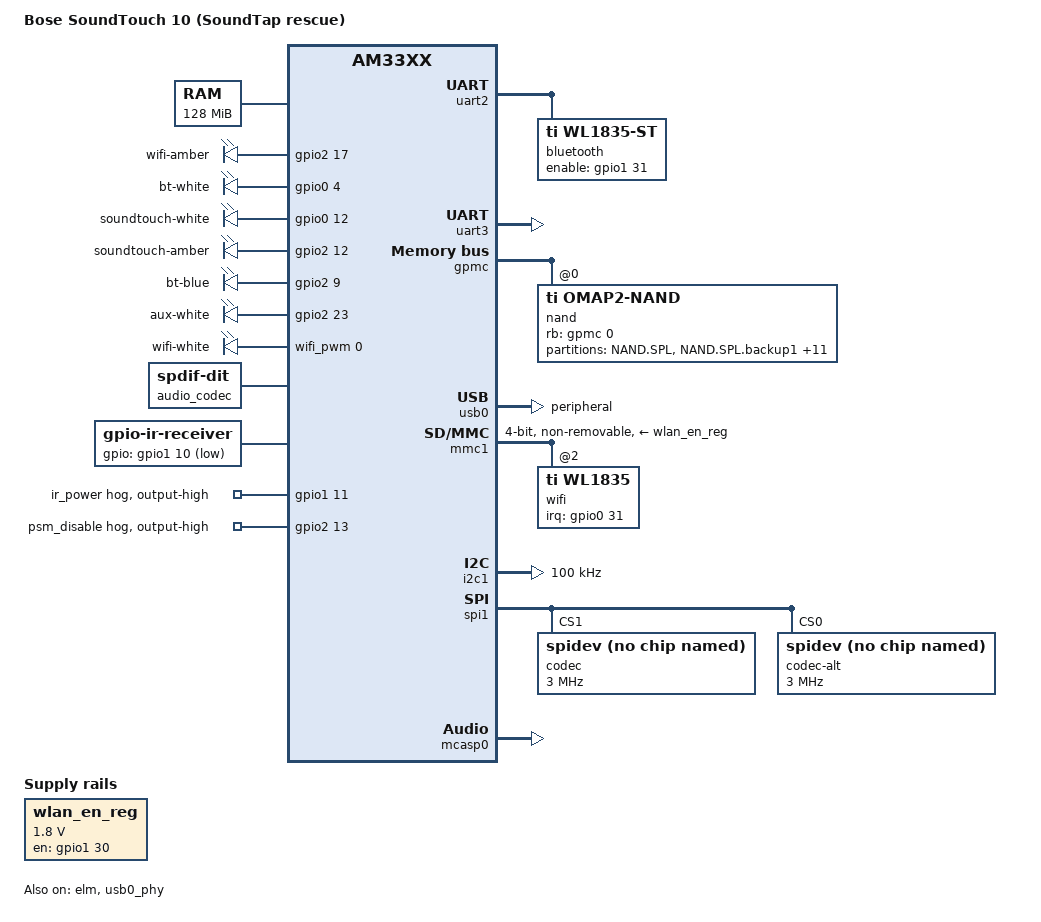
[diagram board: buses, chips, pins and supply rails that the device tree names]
// SPDX-License-Identifier: GPL-2.0-only
// SPDX-FileCopyrightText: 2026 SoundTap contributors
/dts-v1/;

#include "am33xx.dtsi"
#include <dt-bindings/interrupt-controller/irq.h>
#include <dt-bindings/pinctrl/am33xx.h>
#include "am335x-soundtap-ramoops.dtsi"

/ {
	model = "Bose SoundTouch 10 (SoundTap rescue)";
	compatible = "bose,rhino-sm2", "ti,am33xx";

	aliases {
		serial3 = &uart3;
	};

	chosen {
		stdout-path = "serial3:115200n8";
		bootargs = "console=ttyS3,115200n8 root=ubi0:rootfs ro rootfstype=ubifs ubi.mtd=9,2048 rootwait init=/init mem=128M cma=8M panic=10 omap_wdt.early_enable=1 variant=rhino module_type=sm2 country=GB region=GB soundtap.nandroot=1 soundtap.watchdog=90";
	};

	memory@80000000 {
		device_type = "memory";
		reg = <0x80000000 0x08000000>;
	};

	/*
	 * Seven lamps, not nine. Bose's driver exposes uledw, uledy and rled2..rled8, and the
	 * first version of this node inherited that count along with labels inferred from the
	 * channel names. Lighting each channel in turn on hardware
	 * (lighting each channel by hand) showed four of those labels sat on the
	 * wrong lamp and two channels drive no lamp at all: rled2 (gpio2_1) and rled8
	 * (gpio2_16). Both are dropped here — Bose leaves gpio2_16 in LCD mode on a board
	 * with no LCD, which is what an unwired pad looks like.
	 *
	 * These labels become the /sys/class/leds names soundtapd writes, so they must stay in
	 * step with ledChannels() in app/cmd/soundtapd/led.go. A rename on one side alone
	 * sends every write to the stock /dev path and the whole panel goes dark.
	 */
	leds {
		compatible = "gpio-leds";
		pinctrl-names = "default";
		pinctrl-0 = <&led_pins>;

		wifi-amber {
			label = "wifi-amber";
			gpios = <&gpio2 17 GPIO_ACTIVE_HIGH>;
			default-state = "off";
		};

		bt-white {
			label = "bt-white";
			gpios = <&gpio0 4 GPIO_ACTIVE_HIGH>;
			default-state = "off";
		};

		soundtouch-white {
			label = "soundtouch-white";
			gpios = <&gpio0 12 GPIO_ACTIVE_HIGH>;
			default-state = "off";
		};

		soundtouch-amber {
			label = "soundtouch-amber";
			gpios = <&gpio2 12 GPIO_ACTIVE_HIGH>;
			default-state = "off";
		};

		bt-blue {
			label = "bt-blue";
			gpios = <&gpio2 9 GPIO_ACTIVE_HIGH>;
			default-state = "off";
		};

		/*
		 * gpio2_23 (lcd_hsync) is the AUX lamp, Bose's rled7. Bose's tree also names it in
		 * ncp6922_pins_default, as the NCP6922's enable line, and for a while this tree
		 * held it high for the analog supply, which kept the AUX lamp lit in standby.
		 * The rails do not need it: aic3256-loader turns them on over I2C, and the
		 * codec answers with the line low (ST10, 2026-09-23). Stock drives it as a lamp.
		 */
		aux-white {
			label = "aux-white";
			gpios = <&gpio2 23 GPIO_ACTIVE_HIGH>;
			default-state = "off";
		};
	};

	/*
	 * The Wi-Fi white lamp is the one stock dims: in standby it is the only lamp lit, at
	 * low brightness. Bose drives it from DM timer 4, whose output is this lamp's pad in
	 * mode 2 (timer4_pins_default in the stock tree), so it is a PWM lamp here too and
	 * not a gpio-leds one, which can only be on or off. Same label, so soundtapd and the
	 * rescue init write it the same way; brightness 0..255.
	 */
	wifi_pwm: dmtimer-pwm {
		compatible = "ti,omap-dmtimer-pwm";
		#pwm-cells = <3>;
		ti,timers = <&timer4>;
		pinctrl-names = "default";
		pinctrl-0 = <&wifi_pwm_pins>;
	};

	pwm-leds {
		compatible = "pwm-leds";

		wifi-white {
			label = "wifi-white";
			pwms = <&wifi_pwm 0 1000000 0>;
			max-brightness = <255>;
			/* A dark speaker reads as a dead one, and soundtapd takes this lamp over later. */
			default-state = "on";
		};
	};

	wlan_en_reg: regulator-wlan {
		compatible = "regulator-fixed";
		regulator-name = "wlan-en-regulator";
		regulator-min-microvolt = <1800000>;
		regulator-max-microvolt = <1800000>;
		gpio = <&gpio1 30 GPIO_ACTIVE_HIGH>;
		startup-delay-us = <70000>;
		enable-active-high;
	};

	audio_codec: audio-codec {
		compatible = "linux,spdif-dit";
		#sound-dai-cells = <0>;
	};

	/*
	 * The infrared receiver. Bose's ir.ko claims UART0's register block and interrupt and
	 * decodes edges itself ("Infrared receiver sysfs driver", ir_decoding.c, previous_edge,
	 * bits_acc) -- a private driver mainline does not have; a node naming those resources
	 * at the root stops this board booting.
	 *
	 * The demodulator output is on uart0_rxd, which is gpio1_10 in mode 7, so mainline's own
	 * gpio-ir-receiver can have it: rc-core times the edges and its decoders turn them into
	 * key events, with no driver of ours in the path. Idle high, pulses low, which is what
	 * every three-pin demodulator does and what GPIO_ACTIVE_LOW says here.
	 *
	 * Measured 2026-09-22: the driver binds (rc0, /dev/lirc0, gpio_ir_recv on this pin) and
	 * the line is quiet at rest -- eight seconds of reads returned nothing, so the pad is
	 * not floating or oscillating. Whether a remote actually reaches it is still open: it
	 * needs one button press in front of the speaker.
	 */
	ir-receiver {
		compatible = "gpio-ir-receiver";
		gpios = <&gpio1 10 GPIO_ACTIVE_LOW>;
		pinctrl-names = "default";
		pinctrl-0 = <&ir_pins>;
		linux,autosuspend-period = <125>;
	};

	sound {
		compatible = "bose,soundtap-mcasp-audio";
		pinctrl-names = "default";
		pinctrl-0 = <&audio_control_pins>;
		audio-cpu = <&mcasp0>;
		audio-codec = <&audio_codec>;
	};
};

&am33xx_pinmux {
	ir_pins: pinmux-ir-pins {
		pinctrl-single,pins = <
			/* uart0_rxd as gpio1_10: the receiver's output, read by rc-core. */
			AM33XX_PADCONF(0x970, PIN_INPUT_PULLUP, MUX_MODE7)
			/*
			 * uart0_txd as gpio1_11, driven high by the hog below.
			 *
			 * Stock muxes this pad too, as UART0's transmit line, which idles high --
			 * and Bose's ir.ko never sends anything, so what that pin is for is being
			 * high while the receiver is meant to work. Dropping it when this moved to
			 * gpio-ir-receiver left it floating, and 30 seconds of button presses
			 * produced zero bytes on /dev/lirc0 with the decoders enabled and the line
			 * otherwise quiet. Measured on the ST10 on 2026-09-22.
			 */
			AM33XX_PADCONF(0x974, PIN_OUTPUT, MUX_MODE7)
		>;
	};

	/*
	 * UART2, which is where the WL1835's Bluetooth side hangs. Stock's
	 * uart2_pins_default is <0x188 0x32  0x18c 0x02  0x150 0x31  0x154 0x01>, and these
	 * are the same four pads with the same modes and directions: rxd and txd on the SPI0
	 * pads in mode 1, ctsn and rtsn on the I2C0 pads in mode 2. Hardware flow control on
	 * both lines, which the controller needs.
	 */
	uart2_pins: pinmux-uart2-pins {
		pinctrl-single,pins = <
			AM33XX_PADCONF(0x950, PIN_INPUT_PULLUP, MUX_MODE1) /* spi0_sclk: uart2_rxd */
			AM33XX_PADCONF(0x954, PIN_OUTPUT_PULLDOWN, MUX_MODE1) /* spi0_d0: uart2_txd */
			AM33XX_PADCONF(0x988, PIN_INPUT_PULLUP, MUX_MODE2) /* i2c0_sda:  uart2_ctsn */
			AM33XX_PADCONF(0x98c, PIN_OUTPUT_PULLDOWN, MUX_MODE2) /* i2c0_scl: uart2_rtsn */
		>;
	};

	/*
	 * bt_enable, the controller's nSHUTDOWN. Stock's gpiodev table calls it flat number
	 * 0x3F -- gpio1_31, which is the GPMC_CSN2 pad -- and muxes it as a GPIO in
	 * gpiodev_pins_default. Without this group the pad stays in its GPMC function, so
	 * hci_ll toggles a line that reaches nothing: the chip never leaves reset and the
	 * driver reports "Reading TI version information failed (-110)" on every retry.
	 * Measured on the ST10 on 2026-09-22, with hci0 present and the firmware download
	 * failing exactly that way.
	 */
	bt_enable_pins: pinmux-bt-enable-pins {
		pinctrl-single,pins = <
			AM33XX_PADCONF(AM335X_PIN_GPMC_CSN2, PIN_OUTPUT_PULLDOWN, MUX_MODE7)
		>;
	};

	uart3_pins: pinmux-uart3-pins {
		pinctrl-single,pins = <
			AM33XX_PADCONF(AM335X_PIN_MII1_RXD2, PIN_OUTPUT_PULLDOWN, MUX_MODE1)
			AM33XX_PADCONF(AM335X_PIN_SPI0_CS1, PIN_INPUT_PULLUP, MUX_MODE1)
		>;
	};

	usb0_pins: pinmux-usb0-pins {
		pinctrl-single,pins = <
			AM33XX_PADCONF(AM335X_PIN_USB0_DRVVBUS, PIN_OUTPUT, MUX_MODE0)
		>;
	};

	/*
	 * Exactly the pads the leds node drives, in the same order. gpmc_clk (gpio2_1) and
	 * lcd_data10 (gpio2_16) are gone with their lamps: stock muxes the first for a lamp
	 * this board does not have and leaves the second in LCD mode, and neither lights
	 * anything here.
	 */
	wifi_pwm_pins: pinmux-wifi-pwm-pins {
		pinctrl-single,pins = <
			AM33XX_PADCONF(AM335X_PIN_XDMA_EVENT_INTR0, PIN_OUTPUT, MUX_MODE2) /* timer4, wifi white */
		>;
	};

	led_pins: pinmux-led-pins {
		pinctrl-single,pins = <
			AM33XX_PADCONF(AM335X_PIN_LCD_DATA11, PIN_OUTPUT_PULLDOWN, MUX_MODE7) /* gpio2_17 wifi amber */
			AM33XX_PADCONF(AM335X_PIN_SPI0_D1, PIN_OUTPUT, MUX_MODE7) /* gpio0_4  bluetooth white */
			AM33XX_PADCONF(AM335X_PIN_UART1_CTSN, PIN_OUTPUT, MUX_MODE7) /* gpio0_12 soundtouch white */
			AM33XX_PADCONF(AM335X_PIN_LCD_DATA6, PIN_OUTPUT, MUX_MODE7) /* gpio2_12 soundtouch amber */
			AM33XX_PADCONF(AM335X_PIN_LCD_DATA3, PIN_OUTPUT, MUX_MODE7) /* gpio2_9  bluetooth blue  */
			AM33XX_PADCONF(AM335X_PIN_LCD_HSYNC, PIN_OUTPUT, MUX_MODE7) /* gpio2_23 aux white */
		>;
	};

	mmc1_pins: pinmux-mmc1-pins {
		pinctrl-single,pins = <
			AM33XX_PADCONF(AM335X_PIN_MMC0_DAT3, PIN_INPUT_PULLUP, MUX_MODE0)
			AM33XX_PADCONF(AM335X_PIN_MMC0_DAT2, PIN_INPUT_PULLUP, MUX_MODE0)
			AM33XX_PADCONF(AM335X_PIN_MMC0_DAT1, PIN_INPUT_PULLUP, MUX_MODE0)
			AM33XX_PADCONF(AM335X_PIN_MMC0_DAT0, PIN_INPUT_PULLUP, MUX_MODE0)
			AM33XX_PADCONF(AM335X_PIN_MMC0_CLK, PIN_INPUT_PULLUP, MUX_MODE0)
			AM33XX_PADCONF(AM335X_PIN_MMC0_CMD, PIN_INPUT_PULLUP, MUX_MODE0)
		>;
	};

	wlan_pins: pinmux-wlan-pins {
		pinctrl-single,pins = <
			AM33XX_PADCONF(AM335X_PIN_GPMC_CSN1, PIN_OUTPUT_PULLDOWN, MUX_MODE7)
			AM33XX_PADCONF(AM335X_PIN_GPMC_WPN, PIN_INPUT, MUX_MODE7)
		>;
	};

	nand_pins: pinmux-nand-pins {
		pinctrl-single,pins = <
			AM33XX_PADCONF(AM335X_PIN_GPMC_AD0, PIN_INPUT_PULLUP, MUX_MODE0)
			AM33XX_PADCONF(AM335X_PIN_GPMC_AD1, PIN_INPUT_PULLUP, MUX_MODE0)
			AM33XX_PADCONF(AM335X_PIN_GPMC_AD2, PIN_INPUT_PULLUP, MUX_MODE0)
			AM33XX_PADCONF(AM335X_PIN_GPMC_AD3, PIN_INPUT_PULLUP, MUX_MODE0)
			AM33XX_PADCONF(AM335X_PIN_GPMC_AD4, PIN_INPUT_PULLUP, MUX_MODE0)
			AM33XX_PADCONF(AM335X_PIN_GPMC_AD5, PIN_INPUT_PULLUP, MUX_MODE0)
			AM33XX_PADCONF(AM335X_PIN_GPMC_AD6, PIN_INPUT_PULLUP, MUX_MODE0)
			AM33XX_PADCONF(AM335X_PIN_GPMC_AD7, PIN_INPUT_PULLUP, MUX_MODE0)
			AM33XX_PADCONF(AM335X_PIN_GPMC_WAIT0, PIN_INPUT_PULLDOWN, MUX_MODE0)
			AM33XX_PADCONF(AM335X_PIN_GPMC_CSN0, PIN_OUTPUT, MUX_MODE0)
			AM33XX_PADCONF(AM335X_PIN_GPMC_ADVN_ALE, PIN_OUTPUT, MUX_MODE0)
			AM33XX_PADCONF(AM335X_PIN_GPMC_OEN_REN, PIN_OUTPUT, MUX_MODE0)
			AM33XX_PADCONF(AM335X_PIN_GPMC_WEN, PIN_OUTPUT, MUX_MODE0)
			AM33XX_PADCONF(AM335X_PIN_GPMC_BEN0_CLE, PIN_OUTPUT, MUX_MODE0)
		>;
	};

	spi1_pins: pinmux-spi1-pins {
		pinctrl-single,pins = <
			AM33XX_PADCONF(0x964, 0x30, MUX_MODE4)
			AM33XX_PADCONF(0x968, 0x30, MUX_MODE4)
			AM33XX_PADCONF(0x96c, 0x30, MUX_MODE4)
			AM33XX_PADCONF(0x97c, 0x30, MUX_MODE4)
		>;
	};

	mcasp0_pins: pinmux-mcasp0-pins {
		pinctrl-single,pins = <
			AM33XX_PADCONF(0x8d0, 0x20, MUX_MODE3)
			AM33XX_PADCONF(0x8d4, 0x20, MUX_MODE3)
			AM33XX_PADCONF(0x8d8, 0x20, MUX_MODE3)
			AM33XX_PADCONF(0x8dc, 0x08, MUX_MODE3)
			AM33XX_PADCONF(0x908, 0x20, MUX_MODE6)
			AM33XX_PADCONF(0x92c, 0x08, MUX_MODE6)
			AM33XX_PADCONF(0x930, 0x08, MUX_MODE6)
			AM33XX_PADCONF(0x934, 0x20, MUX_MODE6)
		>;
	};

	/*
	 * Front-panel keypad: a 3x3 strobed matrix plus one directly wired key. Values
	 * are the stock rhino_sm2.dtb keypad_pins_default group, translated to this
	 * file's 0x800-based offsets — 0x2f is PIN_INPUT | MUX_MODE7 and 0x17 is
	 * PIN_OUTPUT_PULLUP | MUX_MODE7.
	 *
	 * There is deliberately no keypad driver node behind this group. Every in-kernel
	 * variant we tried (gpio-keys, gpio-matrix-keypad, a custom scanner) prevented
	 * Wi-Fi from booting, and they all request GPIO interrupts on the switch-ins —
	 * which live on gpio0, the same bank and parent interrupt as the WL1835's own
	 * IRQ at gpio0_31 — while an unstrobed switch-in floats. The stock driver does
	 * not use interrupts for scanning either; it polls on a timer. So this group
	 * only muxes the pads, and soundtapd scans them from userspace over sysfs GPIO
	 * (app/cmd/soundtapd/keypad_gpio.go).
	 */
	keypad_pins: pinmux-keypad-pins {
		pinctrl-single,pins = <
			/* Switch-ins, sampled while a strobe is asserted. Pull-disabled on
			 * purpose: the pull-ups are on the board, behind the strobe FETs.
			 */
			AM33XX_PADCONF(0x820, PIN_INPUT, MUX_MODE7) /* gpmc_ad8  -> gpio0_22 */
			AM33XX_PADCONF(0x824, PIN_INPUT, MUX_MODE7) /* gpmc_ad9  -> gpio0_23 */
			AM33XX_PADCONF(0x828, PIN_INPUT, MUX_MODE7) /* gpmc_ad10 -> gpio0_26 */
			AM33XX_PADCONF(0x82c, PIN_INPUT, MUX_MODE7) /* gpmc_ad11 -> gpio0_27 */
			/* Strobes, asserted high one at a time (has-fets = <1>). */
			AM33XX_PADCONF(0x878, PIN_OUTPUT_PULLUP, MUX_MODE7) /* gpmc_be1n -> gpio1_28 */
			AM33XX_PADCONF(0x830, PIN_OUTPUT_PULLUP, MUX_MODE7) /* gpmc_ad12 -> gpio1_12 */
			AM33XX_PADCONF(0x834, PIN_OUTPUT_PULLUP, MUX_MODE7) /* gpmc_ad13 -> gpio1_13 */
		>;
	};

	/*
	 * I2C1 and the regulator that feeds the analog output, straight out of Bose's own
	 * rhino_sm2.dtb: i2c@4802a000 status okay on the two mcasp0_axr pads at 0x980/0x984
	 * with value 0x6b, an "onsemi,ncp6922" at address 0x18 carrying dcdc1, dcdc2, ldo3
	 * and ldo4, and an ncp6922_pins_default claiming pad 0xe4 -- lcd_hsync -- as a GPIO
	 * output for the chip's enable line. That pad is the AUX lamp here (see the leds node);
	 * the rails are on without it.
	 *
	 * Mainline has no ncp6922 driver, so the bus is opened here and the rails are brought
	 * up from userspace, exactly as the Wireless Link does it.
	 */
	i2c1_pins: pinmux-i2c1-pins {
		pinctrl-single,pins = <
			AM33XX_PADCONF(0x980, 0x68, MUX_MODE3) /* i2c1_sda */
			AM33XX_PADCONF(0x984, 0x68, MUX_MODE3) /* i2c1_scl */
		>;
	};

	audio_control_pins: pinmux-audio-control-pins {
		pinctrl-single,pins = <
			AM33XX_PADCONF(0x8a8, 0x00, MUX_MODE7) /* mute */
			AM33XX_PADCONF(0x8b0, 0x00, MUX_MODE7) /* DAC/ADC reset */
			AM33XX_PADCONF(0x8b4, 0x00, MUX_MODE7) /* amplifier standby */
			AM33XX_PADCONF(0x8e0, 0x00, MUX_MODE7) /* DSP reset */
			AM33XX_PADCONF(0x8e8, 0x30, MUX_MODE7) /* amplifier fault */
			AM33XX_PADCONF(0x8bc, 0x00, MUX_MODE7) /* power-save disable */
		>;
	};
};

/*
 * psm_disable, held high for as long as the speaker is on.
 *
 * Bose's gpiodev table gives it flat number 0x4D -- gpio2_13, lcd_data7 -- as an output
 * with initial = 1, and scmmond opens /dev/gpiodev/psm_disable by name. This tree never
 * mentioned the line at all, so it sat wherever the pad's pull left it, which is the
 * opposite of what stock boots with.
 *
 * A hog rather than a driver: nothing here has a reason to change it, and a line that must
 * be high before the amplifier is used should not wait for userspace. Read out of the stock
 * device tree on 2026-09-22; whether it is what makes stock louder at maximum volume is the
 * listening test that has not happened yet. See docs/hardware/st10/stock-audio-path.md.
 */
&gpio1 {
	/* What stock leaves high through UART0's idle transmit line; see ir_pins. */
	ir-power-hog {
		gpio-hog;
		gpios = <11 GPIO_ACTIVE_HIGH>;
		output-high;
		line-name = "ir_power";
	};
};

&gpio2 {
	psm-disable-hog {
		gpio-hog;
		gpios = <13 GPIO_ACTIVE_HIGH>;
		output-high;
		line-name = "psm_disable";
	};
};

/*
 * The Bluetooth half of the WL1835, over TI's own HCI protocol on UART2.
 *
 * Stock runs the 3.14-era shared transport -- st_kim plus the uim daemon -- whose platform
 * data lives in Bose board code, which is why the stock device tree has this UART and no
 * controller. Mainline's hci_ll does the same job from a serdev child, so the node says
 * what stock tells uim: which UART, which enable line, and how fast to go after the
 * firmware is loaded.
 *
 * enable-gpios is gpio1_31, read out of stock's gpiodev table on 2026-09-22: bt_enable,
 * flat number 0x3F, output, initial 0. The controller's firmware, TIInit_11.8.32.bts, is
 * already in this root filesystem under /lib/firmware/ti-connectivity.
 *
 * Not yet measured: no ST10 has been seen to enumerate an hci device. A serdev child that
 * does not probe logs and goes away, which is why this is safe to carry before that.
 */
&uart2 {
	pinctrl-names = "default";
	pinctrl-0 = <&uart2_pins &bt_enable_pins>;
	status = "okay";

	/*
	 * No EDMA on this port, for the reason the Wireless Link found first: with RX DMA
	 * the radio's answers reach hci_ll late and more than once. The ST10 shows the same
	 * signature -- "unexpected event for opcode 0x0010" right after "Reading TI version
	 * information failed (-110)", on a board whose radio demonstrably answers -- and
	 * am335x-soundtap-wla.dts has the capture. Polled RX carries a few kB of init script
	 * without trouble. The two output pads above take the vendor's pulldown for the same
	 * alignment reason given there.
	 */
	/delete-property/ dmas;
	/delete-property/ dma-names;

	bluetooth {
		compatible = "ti,wl1835-st";
		enable-gpios = <&gpio1 31 GPIO_ACTIVE_HIGH>;
		max-speed = <921600>;
	};
};

&uart3 {
	pinctrl-names = "default";
	pinctrl-0 = <&uart3_pins>;
	status = "okay";
};

/*
 * Somebody has to apply keypad_pins, and pinctrl-single writes pad registers regardless
 * of which node asks — the group covers gpio0 and gpio1 lines either way. It hangs off
 * gpio2, the one bank nothing in the Wi-Fi path depends on (gpio0 carries the WL1835
 * interrupt, gpio1 the WLAN_EN regulator), so a problem muxing the keypad can never
 * delay or disturb a bank the radio needs.
 */
&gpio2 {
	pinctrl-names = "default";
	pinctrl-0 = <&keypad_pins>;
};

&elm {
	status = "okay";
};

&gpmc {
	status = "okay";
	pinctrl-names = "default";
	pinctrl-0 = <&nand_pins>;
	ranges = <0 0 0x08000000 0x01000000>;

	nand@0,0 {
		compatible = "ti,omap2-nand";
		reg = <0 0 4>;
		rb-gpios = <&gpmc 0 GPIO_ACTIVE_HIGH>;
		nand-bus-width = <8>;
		gpmc,device-width = <1>;
		gpmc,cs-rd-off-ns = <30>;
		gpmc,cs-wr-off-ns = <30>;
		gpmc,adv-rd-off-ns = <30>;
		gpmc,adv-wr-off-ns = <30>;
		gpmc,we-off-ns = <20>;
		gpmc,oe-off-ns = <20>;
		gpmc,access-ns = <30>;
		gpmc,rd-cycle-ns = <30>;
		gpmc,wr-cycle-ns = <30>;
		gpmc,wr-access-ns = <30>;
		ti,nand-ecc-opt = "bch8";
		ti,elm-id = <&elm>;

		partitions {
			compatible = "fixed-partitions";
			#address-cells = <1>;
			#size-cells = <1>;

			partition@0 {
				label = "NAND.SPL";
				reg = <0x00000000 0x00020000>;
				soundtap,writable;
			};

			partition@20000 {
				label = "NAND.SPL.backup1";
				reg = <0x00020000 0x00020000>;
				soundtap,writable;
			};

			partition@40000 {
				label = "NAND.SPL.backup2";
				reg = <0x00040000 0x00020000>;
				soundtap,writable;
			};

			partition@60000 {
				label = "NAND.SPL.backup3";
				reg = <0x00060000 0x00020000>;
				soundtap,writable;
			};

			partition@80000 {
				label = "NAND.U-Boot";
				reg = <0x00080000 0x001e0000>;
				soundtap,writable;
			};

			/*
			 * Open, because this entry is the slot selector. bootcmd runs
			 * nand_boot or nand_boot2 and nothing else decides which half of
			 * the A/B pair the speaker starts, so an install that writes the
			 * other slot and cannot write this partition installs firmware
			 * nobody boots: with mtd5 read-only, flash_erase answers EACCES
			 * and the board comes back on the old slot (measured).
			 *
			 * The boot chain above it stays shut: SPL, its three backups and
			 * U-Boot are the one-way door on a model with no proven mask-ROM
			 * recovery, and internal/ubootenv refuses a partition whose CRC
			 * does not check out, so a half-written environment still falls
			 * back to U-Boot's built-in default.
			 */
			partition@260000 {
				label = "NAND.U-Boot-Env";
				reg = <0x00260000 0x00020000>;
				soundtap,writable;
			};

			partition@280000 {
				label = "NAND.Kernel-Ping";
				reg = <0x00280000 0x00500000>;
				soundtap,writable;
			};

			partition@780000 {
				label = "NAND.Kernel-Pong";
				reg = <0x00780000 0x00500000>;
				soundtap,writable;
			};

			partition@c80000 {
				label = "NAND.File-System-Ping";
				reg = <0x00c80000 0x06000000>;
				soundtap,writable;
			};

			partition@6c80000 {
				label = "NAND.File-System-Pong";
				reg = <0x06c80000 0x06000000>;
				soundtap,writable;
			};

			partition@cc80000 {
				label = "NAND.Persistent-Storage";
				reg = <0x0cc80000 0x02600000>;
				soundtap,writable;
			};

			partition@f280000 {
				label = "NAND.Update-Staging";
				reg = <0x0f280000 0x00b80000>;
				read-only;
			};

			partition@fe00000 {
				label = "NAND.Manufacturing-Data";
				reg = <0x0fe00000 0x00040000>;
				read-only;
			};
		};
	};
};

&usb0 {
	pinctrl-names = "default";
	pinctrl-0 = <&usb0_pins>;
	/*
	 * Peripheral, which is the shape the Wireless Link has proven: a gadget on usb0,
	 * giving a console and a network link that do not depend on Wi-Fi. This board has
	 * one controller -- stock disables usb1 -- so it is one role at a time, and the
	 * role this firmware needs is the gadget.
	 *
	 * It was "host" for the RAM/USB deploy path, which read a root filesystem from a
	 * stick; NAND boot replaced that. Recovery still reads a stick, but stock U-Boot
	 * does that at power-on, before Linux exists, so nothing we rely on needs host.
	 *
	 * Not "otg", although that is what stock rhino_sm2.dtb says. Choosing by the ID pin
	 * only works if the ID pin is wired, and nothing here has ever shown that it is
	 * (docs/hardware/st10/usb-recovery-and-rom.md). An unwired ID would leave the port in
	 * host mode and the gadget would simply never appear.
	 */
	dr_mode = "peripheral";
	status = "okay";
};

&usb0_phy {
	status = "okay";
};

&mmc1 {
	pinctrl-names = "default";
	pinctrl-0 = <&mmc1_pins &wlan_pins>;
	vmmc-supply = <&wlan_en_reg>;
	bus-width = <4>;
	non-removable;
	cap-power-off-card;
	keep-power-in-suspend;
	status = "okay";

	#address-cells = <1>;
	#size-cells = <0>;

	wifi@2 {
		compatible = "ti,wl1835";
		reg = <2>;
		interrupt-parent = <&gpio0>;
		interrupts = <31 IRQ_TYPE_EDGE_RISING>;
	};
};

&i2c1 {
	pinctrl-names = "default";
	pinctrl-0 = <&i2c1_pins>;
	clock-frequency = <100000>;
	status = "okay";
	/* No node for the NCP6922 itself: mainline has no driver for it, and userspace
	 * writes its enable register over /dev/i2c-1. */
};

&spi1 {
	pinctrl-names = "default";
	pinctrl-0 = <&spi1_pins>;
	ti,pindir-d0-out-d1-in;
	status = "okay";

	codec@1 {
		compatible = "rohm,dh2228fv";
		reg = <1>;
		spi-max-frequency = <3000000>;
		spi-cpha;
	};

	/*
	 * Bose puts the AIC3256 at reg = <1>, and this tree copies that -- but the codec
	 * answers 0xff on every register there, with its rails on and its enable line high,
	 * so which chip select actually reaches it is not established. The second node makes
	 * the question answerable on hardware instead of from the pad table: both /dev/spidev
	 * nodes exist and aic3256-loader --device probes either.
	 *
	 * Bose's own CS0 device is a display controller that is status = "disabled" on this
	 * variant, so nothing else wants it.
	 */
	codec-alt@0 {
		compatible = "rohm,dh2228fv";
		reg = <0>;
		spi-max-frequency = <3000000>;
		spi-cpha;
	};
};

&mcasp0 {
	#sound-dai-cells = <0>;
	pinctrl-names = "default";
	pinctrl-0 = <&mcasp0_pins>;
	status = "okay";
	op-mode = <0>;
	tdm-slots = <2>;
	serial-dir = <2 1 0 0>;
	/*
	 * AHCLKX stays off the pin, and that is a measurement overruling a reading.
	 *
	 * Stock's snd-shelby.ko writes McASP0 PDIR 0x1C000003, which has the AHCLKX bit
	 * set, against snd-binky.ko's 0x14000002 on the Wireless Link. Without this
	 * property the speaker is silent while the stream flows normally, mute released
	 * and the amplifier on; with it, it plays (measured).
	 *
	 * The pad is in this tree's mcasp0 group as 0x934 in mode 6, which stock also
	 * configures with its input buffer enabled (0x26) -- a pin something else drives is
	 * what that looks like, whatever PDIR says about it.
	 *
	 * The rest of stock's transmit setup this node already matches: AHCLKXCTL 0x8001,
	 * ACLKXCTL 0xA3, AFSXCTL 0x112, XFMT 0x80F0.
	 */
	ti,ahclkx-not-driven;
	ti,tx-clock-only;
	tx-num-evt = <1>;
	rx-num-evt = <1>;
};
